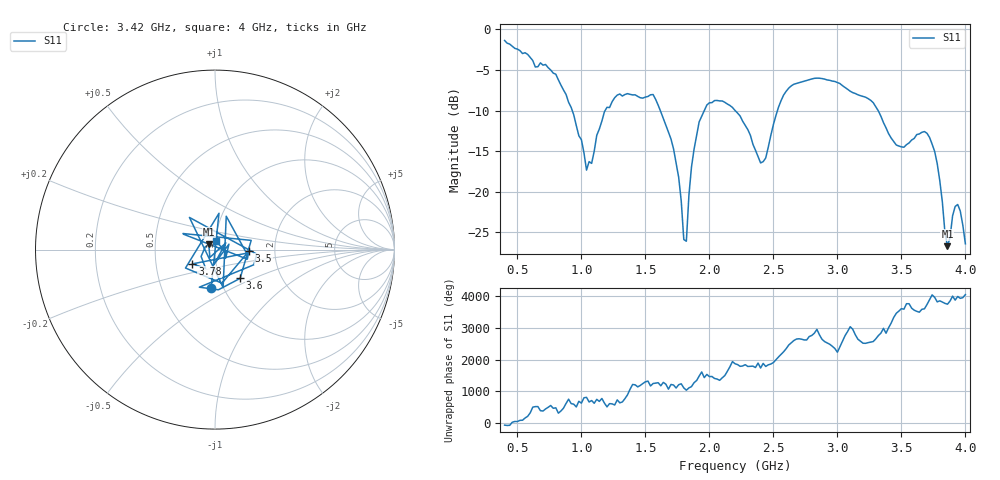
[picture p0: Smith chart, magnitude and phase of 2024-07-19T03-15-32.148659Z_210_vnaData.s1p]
!Created with skrf (http://scikit-rf.org).
# Hz S RI R 50.0
!freq ReS11 ImS11
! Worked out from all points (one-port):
!   181 points, 400 MHz to 4 GHz, reference 50 ohm
!   lowest |S11| = -26.7 dB at 3.86 GHz (marker M1), VSWR 1.10, Z = 46.6 + j2.84 ohm
!   |S11| at or under -10 dB: 1.616 GHz to 1.96 GHz (343.4 MHz wide, 19.2 % of centre); 2.201 GHz to 2.532 GHz (331 MHz wide, 14 % of centre); 3.318 GHz to end of sweep (the widest 3 of 4)
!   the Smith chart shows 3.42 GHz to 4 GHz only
!   S11 on the Smith chart (normalised r, x): 3.42 GHz: 0.88, -0.39; 3.5 GHz: 1.46, -0.02; 3.6 GHz: 1.25, -0.42; 3.78 GHz: 0.77, -0.12; 4 GHz: 1.01, +0.10
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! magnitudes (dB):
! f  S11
! 400 MHz  -1.4
! 860 MHz  -7.5
! 1.04 GHz  -17.3
! 1.18 GHz  -10.1
! 1.3 GHz  -8.0
! 1.56 GHz  -8.0
! 1.7 GHz  -13.5
! 1.76 GHz  -18.2
! 1.8 GHz  -25.9
! 1.82 GHz  -26.1
! 1.86 GHz  -17.0
! 1.92 GHz  -11.4
! 2.04 GHz  -8.8
! 2.2 GHz  -10.0
! 2.4 GHz  -16.5
! 2.56 GHz  -8.8
! 2.66 GHz  -6.8
! 3.1 GHz  -7.6
! 3.28 GHz  -9.0
! 3.42 GHz  -13.4
! 3.5 GHz  -14.5
! 3.56 GHz  -14.0
! 3.6 GHz  -13.4
! 3.7 GHz  -12.8
! 3.78 GHz  -16.6
! 3.86 GHz  -26.7
! 3.94 GHz  -21.6
! 4 GHz  -26.4
